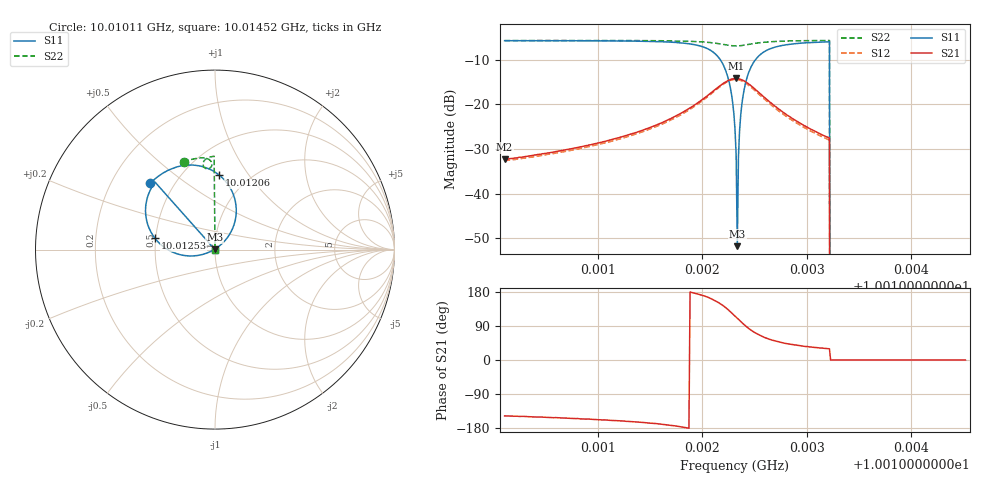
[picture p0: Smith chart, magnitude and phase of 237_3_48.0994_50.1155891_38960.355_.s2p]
#  HZ  S  RI  R  50.00
! Rohde & Schwarz Vector Network Analyzer
! Rohde-Schwarz,ZNB20-2Port,1311601062101988,3.16
! Created: UTC 12/23/2023, 3:58:23 AM
! freq[Hz]  re:S11  im:S11  re:S21  im:S21  re:S12  im:S12  re:S22  im:S22
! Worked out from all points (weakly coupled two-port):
!   401 points, 10.01011 GHz to 10.01452 GHz, reference 50 ohm
!   highest |S21| = -14.21 dB at 10.01232 GHz (marker M1); lowest = -32.4 dB at 10.01011 GHz (marker M2)
!   lowest |S11| = -51.8 dB at 10.01233 GHz (marker M3), VSWR 1.01, Z = 49.9 + j0.233 ohm
!   |S11| at or under -10 dB: 10.01217 GHz to 10.01251 GHz (336.6 kHz wide, 0.00336 % of centre); 10.01322 GHz to end of sweep
!   |S22| runs from - to -5.7 dB; largest |S21 - S12| = 0.0092
!   S11 on the Smith chart (normalised r, x): 10.01011 GHz: 0.37, +0.37; 10.01206 GHz: 0.74, +0.74; 10.01253 GHz: 0.49, +0.07; 10.01452 GHz: 1.00, +0.00
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1.0010105e10  -0.3605 0.3699  -0.0203 -0.0129  -0.0189 -0.0136  -0.1755 0.4883
1.0010845e10  -0.3043 0.4166  -0.0305 -0.0139  -0.0286 -0.015  -0.1273 0.5034
1.0011584e10  -0.196 0.4648  -0.059 -0.0118  -0.0563 -0.0143  -0.0721 0.5113
1.0012058e10  0.0241 0.4146  -0.1234 0.0332  -0.1215 0.0258  -0.0243 0.4943
1.0012169e10  0.1039 0.3024  -0.1383 0.0834  -0.1392 0.0744  -0.0169 0.4759
1.0012246e10  0.1126 0.1622  -0.1257 0.1355  -0.1288 0.1273  -0.0223 0.4592
1.001229e10  0.0738 0.0734  -0.1012 0.1644  -0.1056 0.1568  -0.0313 0.4519
1.0012301e10  0.0584 0.0532  -0.0933 0.1702  -0.0976 0.1628  -0.0341 0.4508
1.0012312e10  0.04 0.0339  -0.0846 0.1754  -0.0891 0.1683  -0.037 0.4501
1.0012323e10  0.0207 0.0173  -0.0756 0.1795  -0.08 0.1726  -0.0398 0.4498
1.0012334e10  -0.00106 0.00234  -0.0662 0.1828  -0.0708 0.176  -0.0431 0.4497
1.0012356e10  -0.0473 -0.0202  -0.0475 0.1862  -0.052 0.1798  -0.0489 0.4508
1.0012367e10  -0.0716 -0.0277  -0.0376 0.1864  -0.0422 0.1803  -0.0517 0.4519
1.00124e10  -0.1433 -0.0355  -0.00979 0.1825  -0.0146 0.1766  -0.0588 0.4569
1.0012455e10  -0.2466 -0.00903  0.0267 0.163  0.0207 0.1578  -0.0653 0.4682
1.0012533e10  -0.3357 0.0648  0.0524 0.1281  0.0469 0.124  -0.0656 0.4837
1.0012709e10  -0.3871 0.2139  0.0602 0.0705  0.0547 0.0694  -0.0505 0.5048
1.0013051e10  -0.3539 0.3446  0.043 0.0289  0.0396 0.0292  -0.0185 0.518
1.0013195e10  -0.3367 0.3722  0.0372 0.0215  0.0342 0.0222  -0.00656 0.5198
1.001325e10  0 0  0 0  0 0  0 0
1.001379e10  0 0  0 0  0 0  0 0
1.0014519e10  0 0  0 0  0 0  0 0
